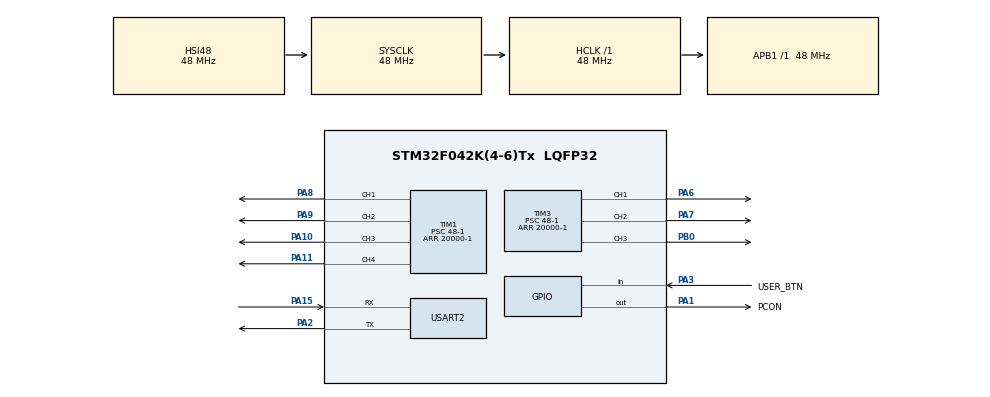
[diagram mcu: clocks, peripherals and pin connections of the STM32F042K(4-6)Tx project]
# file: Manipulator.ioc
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Mcu.Family=STM32F0
Mcu.Name=STM32F042K(4-6)Tx
Mcu.Package=LQFP32
NVIC.TIM2_IRQn=true\:0\:0\:false\:false\:true\:true\:true\:true
NVIC.USART2_IRQn=true\:0\:0\:false\:false\:true\:true\:true\:true
PA1.GPIO_Label=PCON
PA1.Signal=GPIO_Output
PA10.Signal=S_TIM1_CH3
PA11.Signal=S_TIM1_CH4
PA15.Mode=Asynchronous
PA15.Signal=USART2_RX
PA2.Mode=Asynchronous
PA2.Signal=USART2_TX
PA3.GPIO_Label=USER_BTN
PA3.Signal=GPIO_Input
PA6.Signal=S_TIM3_CH1
PA7.Signal=S_TIM3_CH2
PA8.Signal=S_TIM1_CH1
PA9.Signal=S_TIM1_CH2
PB0.Signal=S_TIM3_CH3
ProjectManager.HeapSize=0x200
ProjectManager.StackSize=0x400
ProjectManager.TargetToolchain=STM32CubeIDE
RCC.AHBFreq_Value=48000000
RCC.APB1Freq_Value=48000000
RCC.APB1TimFreq_Value=48000000
RCC.HCLKFreq_Value=48000000
RCC.SYSCLKFreq_VALUE=48000000
RCC.SYSCLKSource=RCC_SYSCLKSOURCE_HSI48
SH.S_TIM1_CH1.0=TIM1_CH1,PWM Generation1 CH1
SH.S_TIM1_CH2.0=TIM1_CH2,PWM Generation2 CH2
SH.S_TIM1_CH3.0=TIM1_CH3,PWM Generation3 CH3
SH.S_TIM1_CH4.0=TIM1_CH4,PWM Generation4 CH4
SH.S_TIM3_CH1.0=TIM3_CH1,PWM Generation1 CH1
SH.S_TIM3_CH2.0=TIM3_CH2,PWM Generation2 CH2
SH.S_TIM3_CH3.0=TIM3_CH3,PWM Generation3 CH3
TIM1.AutoReloadPreload=TIM_AUTORELOAD_PRELOAD_ENABLE
TIM1.Channel-PWM\ Generation1\ CH1=TIM_CHANNEL_1
TIM1.Channel-PWM\ Generation2\ CH2=TIM_CHANNEL_2
TIM1.Channel-PWM\ Generation3\ CH3=TIM_CHANNEL_3
TIM1.Channel-PWM\ Generation4\ CH4=TIM_CHANNEL_4
TIM1.Period=20000-1
TIM1.Prescaler=48-1
TIM2.Period=1000000-1
TIM2.Prescaler=48-1
TIM3.AutoReloadPreload=TIM_AUTORELOAD_PRELOAD_ENABLE
TIM3.Channel-PWM\ Generation1\ CH1=TIM_CHANNEL_1
TIM3.Channel-PWM\ Generation2\ CH2=TIM_CHANNEL_2
TIM3.Channel-PWM\ Generation3\ CH3=TIM_CHANNEL_3
TIM3.Period=20000-1
TIM3.Prescaler=48-1
USART2.VirtualMode-Asynchronous=VM_ASYNC
VP_TIM1_VS_ClockSourceINT.Mode=Internal
VP_TIM2_VS_ClockSourceINT.Mode=Internal
VP_TIM3_VS_ClockSourceINT.Mode=Internal
board=custom

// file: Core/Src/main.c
/* USER CODE BEGIN Header */
/**
 ******************************************************************************
 * @file           : main.c
 * @brief          : Main program body
 ******************************************************************************
 * @attention
 *
 * Copyright (c) 2023 STMicroelectronics.
 * All rights reserved.
 *
 * This software is licensed under terms that can be found in the LICENSE file
 * in the root directory of this software component.
 * If no LICENSE file comes with this software, it is provided AS-IS.
 *
 ******************************************************************************
 */
/* USER CODE END Header */
#include "main.h"

/* USER CODE BEGIN Includes */
#include "stdbool.h"
/* USER CODE END Includes */

/* USER CODE BEGIN PD */

// Rozsah serv 500 - 2500
#define servoMiddle 1500
#define servoLeft 	2400
#define servoRight 	600

#define servo1	TIM1,	1
#define servo2	TIM1,	2
#define servo3	TIM1,	3
#define servo4	TIM1,	4
#define servo5	TIM3,	1
#define servo6	TIM3,	2
#define servo7	TIM3,	3

#define servo7_max	0x3A6
#define servo7_min	0x690

#define fine_change		2
#define rough_change	4

/* USER CODE END PD */

TIM_HandleTypeDef htim1;
TIM_HandleTypeDef htim2;
TIM_HandleTypeDef htim3;

UART_HandleTypeDef huart2;

void SystemClock_Config(void);
static void MX_GPIO_Init(void);
static void MX_TIM1_Init(void);
static void MX_TIM2_Init(void);
static void MX_TIM3_Init(void);
static void MX_USART2_UART_Init(void);
/* USER CODE BEGIN PFP */

void setServo(TIM_TypeDef *timer, int tim_channel, int duty_cycle);

/* USER CODE END PFP */

/* USER CODE BEGIN 0 */
uint16_t pom = 0;
bool lastBtnState = true;		// last state of user button
uint8_t RX_data[3];				// buffer for uart data
uint8_t data_pos = 0;			// buffer data offset
uint8_t receive_complete = 0;	// global flag

void HAL_UART_RxCpltCallback(UART_HandleTypeDef *huart)
{
	data_pos++;
	if (data_pos > 2)	// already get 3 bytes
	{
		data_pos = 0;
		HAL_UART_Receive_IT(&huart2, RX_data + data_pos, 1);
		receive_complete = 1;	// set global flag to set servos position
	}
	else
	{
		HAL_UART_Receive_IT(&huart2, RX_data + data_pos, 1);
	}
}

/* USER CODE END 0 */

int main(void)
{

  /* MCU Configuration--------------------------------------------------------*/

  /* Reset of all peripherals, Initializes the Flash interface and the Systick. */
  HAL_Init();

  /* Configure the system clock */
  SystemClock_Config();

  /* Initialize all configured peripherals */
  MX_GPIO_Init();
  MX_TIM1_Init();
  MX_TIM2_Init();
  MX_TIM3_Init();
  MX_USART2_UART_Init();
  /* USER CODE BEGIN 2 */
	HAL_GPIO_WritePin(PCON_GPIO_Port, PCON_Pin, GPIO_PIN_SET);	// LED signals MCU is ON
	HAL_UART_Receive_IT(&huart2, RX_data, 1);					// START receiving UART data
  /* USER CODE END 2 */

  /* Infinite loop */
  /* USER CODE BEGIN WHILE */
	// START ALL PWM channel + set default servos position
	TIM1->CCR1 = servoMiddle;
	TIM1->CCR2 = servoMiddle;
	TIM1->CCR3 = servoMiddle;
	TIM1->CCR4 = servoMiddle;
	TIM3->CCR1 = servoMiddle;
	TIM3->CCR2 = servoMiddle;
	TIM3->CCR3 = servoMiddle;
	HAL_TIM_PWM_Start(&htim1, TIM_CHANNEL_1);
	HAL_TIM_PWM_Start(&htim1, TIM_CHANNEL_2);
	HAL_TIM_PWM_Start(&htim1, TIM_CHANNEL_3);
	HAL_TIM_PWM_Start(&htim1, TIM_CHANNEL_4);
	HAL_TIM_PWM_Start(&htim3, TIM_CHANNEL_1);
	HAL_TIM_PWM_Start(&htim3, TIM_CHANNEL_2);
	HAL_TIM_PWM_Start(&htim3, TIM_CHANNEL_3);
	HAL_TIM_Base_Start_IT(&htim2);				// START TIM2 for USER_BTN sampling

	while (1)
	{
		if (receive_complete)
		{
			receive_complete = 0;	// RESET global flag

			// Buttons A,C - servo1, servo2 - main arm UP/DOWN
			// Buttons B,D - servo3 - main arm rotation
			// Buttons E,F - servo4 - elbow UP/DOWN
			// Axis Y - servo5 - wrist UP/DOWN
			// Axis X - servo6 - wrist rotation
			// K button - servo7 - forks clamp
			// E and F buttons at same time - servo7 - forks open

			// Main Arm - servo1/2
			if (RX_data[2] & (1))
			{
				setServo(servo1, TIM1->CCR1 + rough_change);
				setServo(servo2, TIM1->CCR2 + rough_change);
			}
			else if (RX_data[2] & (1 << 2))
			{
				setServo(servo1, TIM1->CCR1 - rough_change);
				setServo(servo2, TIM1->CCR2 - rough_change);
			}

			// Arm rotation - servo3
			if (RX_data[2] & (1 << 1))
				setServo(servo3, TIM1->CCR3 + rough_change);
			else if (RX_data[2] & (1 << 3))
				setServo(servo3, TIM1->CCR3 - rough_change);

			// Forks - servo7
			if (RX_data[2] & (1 << 6))
			{
				if ((TIM3->CCR3 - rough_change) > servo7_max)	// Forks servo has different movement range
					setServo(servo7, TIM3->CCR3 - rough_change);
			}
			else if ((RX_data[2] & (1 << 4)) && (RX_data[2] & (1 << 5)))
			{
				if ((TIM3->CCR3 + rough_change) < servo7_min)
					setServo(servo7, TIM3->CCR3 + rough_change);
			}

			// Elbow - servo4
			if ((RX_data[2] & (1 << 4)) && !(RX_data[2] & (1 << 5)))
				setServo(servo4, TIM1->CCR4 + rough_change);
			else if ((RX_data[2] & (1 << 5)) && !(RX_data[2] & (1 << 4)))
				setServo(servo4, TIM1->CCR4 - rough_change);

			// X-axis - servo6
			if (!((*RX_data > 0x78) && (*RX_data < 0x87)))// Joystick between 120 to 135 (8 bit) --> don't change servo position
			{
				if (*RX_data > 135)
				{
					if ((*RX_data > 135) && (*RX_data < 180))
						setServo(servo5, TIM3->CCR1 - fine_change / 2);
					else if ((*RX_data > 180) && (*RX_data < 210))
						setServo(servo5, TIM3->CCR1 - fine_change);
					else if (*RX_data > 210)
						setServo(servo5, TIM3->CCR1 - rough_change);
				}
				else
				{
					if ((*RX_data > 85) && (*RX_data < 120))
						setServo(servo5, TIM3->CCR1 + fine_change / 2);
					else if ((*RX_data > 55) && (*RX_data < 85))
						setServo(servo5, TIM3->CCR1 + fine_change);
					else if (*RX_data < 55)
						setServo(servo5, TIM3->CCR1 + rough_change);
				}
			}

			// Y-axis - servo5
			if (!((RX_data[1] > 0x78) && (RX_data[1] < 0x87)))// Joystick between 120 to 135 (8 bit) --> don't change servo position
			{

				if (RX_data[1] > 140)
				{
					if ((RX_data[1] > 140) && (RX_data[1] < 180))
						setServo(servo6, TIM3->CCR2 - fine_change / 2);
					if ((RX_data[1] > 180) && (RX_data[1] < 210))
						setServo(servo6, TIM3->CCR2 - fine_change);
					if (RX_data[1] > 210)
						setServo(servo6, TIM3->CCR2 - rough_change);
				}
				else
				{
					if ((RX_data[1] > 85) && (RX_data[1] < 115))
						setServo(servo6, TIM3->CCR2 + fine_change / 2);
					if ((RX_data[1] > 55) && (RX_data[1] < 85))
						setServo(servo6, TIM3->CCR2 + fine_change);
					if (RX_data[1] < 55)
						setServo(servo6, TIM3->CCR2 + rough_change);
				}
			}
		}
    /* USER CODE END WHILE */

	}
}

void SystemClock_Config(void)
{
  RCC_OscInitTypeDef RCC_OscInitStruct = {0};
  RCC_ClkInitTypeDef RCC_ClkInitStruct = {0};

  /** Initializes the RCC Oscillators according to the specified parameters
  * in the RCC_OscInitTypeDef structure.
  */
  RCC_OscInitStruct.OscillatorType = RCC_OSCILLATORTYPE_HSI48;
  RCC_OscInitStruct.HSI48State = RCC_HSI48_ON;
  RCC_OscInitStruct.PLL.PLLState = RCC_PLL_NONE;
  if (HAL_RCC_OscConfig(&RCC_OscInitStruct) != HAL_OK)
  {
    Error_Handler();
  }

  /** Initializes the CPU, AHB and APB buses clocks
  */
  RCC_ClkInitStruct.ClockType = RCC_CLOCKTYPE_HCLK|RCC_CLOCKTYPE_SYSCLK
                              |RCC_CLOCKTYPE_PCLK1;
  RCC_ClkInitStruct.SYSCLKSource = RCC_SYSCLKSOURCE_HSI48;
  RCC_ClkInitStruct.AHBCLKDivider = RCC_SYSCLK_DIV1;
  RCC_ClkInitStruct.APB1CLKDivider = RCC_HCLK_DIV1;

  if (HAL_RCC_ClockConfig(&RCC_ClkInitStruct, FLASH_LATENCY_1) != HAL_OK)
  {
    Error_Handler();
  }
}

static void MX_TIM1_Init(void)
{

  TIM_ClockConfigTypeDef sClockSourceConfig = {0};
  TIM_MasterConfigTypeDef sMasterConfig = {0};
  TIM_OC_InitTypeDef sConfigOC = {0};
  TIM_BreakDeadTimeConfigTypeDef sBreakDeadTimeConfig = {0};

  htim1.Instance = TIM1;
  htim1.Init.Prescaler = 48-1;
  htim1.Init.CounterMode = TIM_COUNTERMODE_UP;
  htim1.Init.Period = 20000-1;
  htim1.Init.ClockDivision = TIM_CLOCKDIVISION_DIV1;
  htim1.Init.RepetitionCounter = 0;
  htim1.Init.AutoReloadPreload = TIM_AUTORELOAD_PRELOAD_ENABLE;
  if (HAL_TIM_Base_Init(&htim1) != HAL_OK)
  {
    Error_Handler();
  }
  sClockSourceConfig.ClockSource = TIM_CLOCKSOURCE_INTERNAL;
  if (HAL_TIM_ConfigClockSource(&htim1, &sClockSourceConfig) != HAL_OK)
  {
    Error_Handler();
  }
  if (HAL_TIM_PWM_Init(&htim1) != HAL_OK)
  {
    Error_Handler();
  }
  sMasterConfig.MasterOutputTrigger = TIM_TRGO_RESET;
  sMasterConfig.MasterSlaveMode = TIM_MASTERSLAVEMODE_DISABLE;
  if (HAL_TIMEx_MasterConfigSynchronization(&htim1, &sMasterConfig) != HAL_OK)
  {
    Error_Handler();
  }
  sConfigOC.OCMode = TIM_OCMODE_PWM1;
  sConfigOC.Pulse = 0;
  sConfigOC.OCPolarity = TIM_OCPOLARITY_HIGH;
  sConfigOC.OCNPolarity = TIM_OCNPOLARITY_HIGH;
  sConfigOC.OCFastMode = TIM_OCFAST_DISABLE;
  sConfigOC.OCIdleState = TIM_OCIDLESTATE_RESET;
  sConfigOC.OCNIdleState = TIM_OCNIDLESTATE_RESET;
  if (HAL_TIM_PWM_ConfigChannel(&htim1, &sConfigOC, TIM_CHANNEL_1) != HAL_OK)
  {
    Error_Handler();
  }
  if (HAL_TIM_PWM_ConfigChannel(&htim1, &sConfigOC, TIM_CHANNEL_2) != HAL_OK)
  {
    Error_Handler();
  }
  if (HAL_TIM_PWM_ConfigChannel(&htim1, &sConfigOC, TIM_CHANNEL_3) != HAL_OK)
  {
    Error_Handler();
  }
  if (HAL_TIM_PWM_ConfigChannel(&htim1, &sConfigOC, TIM_CHANNEL_4) != HAL_OK)
  {
    Error_Handler();
  }
  sBreakDeadTimeConfig.OffStateRunMode = TIM_OSSR_DISABLE;
  sBreakDeadTimeConfig.OffStateIDLEMode = TIM_OSSI_DISABLE;
  sBreakDeadTimeConfig.LockLevel = TIM_LOCKLEVEL_OFF;
  sBreakDeadTimeConfig.DeadTime = 0;
  sBreakDeadTimeConfig.BreakState = TIM_BREAK_DISABLE;
  sBreakDeadTimeConfig.BreakPolarity = TIM_BREAKPOLARITY_HIGH;
  sBreakDeadTimeConfig.AutomaticOutput = TIM_AUTOMATICOUTPUT_DISABLE;
  if (HAL_TIMEx_ConfigBreakDeadTime(&htim1, &sBreakDeadTimeConfig) != HAL_OK)
  {
    Error_Handler();
  }
  HAL_TIM_MspPostInit(&htim1);

}

static void MX_TIM2_Init(void)
{

  TIM_ClockConfigTypeDef sClockSourceConfig = {0};
  TIM_MasterConfigTypeDef sMasterConfig = {0};

  htim2.Instance = TIM2;
  htim2.Init.Prescaler = 48-1;
  htim2.Init.CounterMode = TIM_COUNTERMODE_UP;
  htim2.Init.Period = 1000000-1;
  htim2.Init.ClockDivision = TIM_CLOCKDIVISION_DIV1;
  htim2.Init.AutoReloadPreload = TIM_AUTORELOAD_PRELOAD_DISABLE;
  if (HAL_TIM_Base_Init(&htim2) != HAL_OK)
  {
    Error_Handler();
  }
  sClockSourceConfig.ClockSource = TIM_CLOCKSOURCE_INTERNAL;
  if (HAL_TIM_ConfigClockSource(&htim2, &sClockSourceConfig) != HAL_OK)
  {
    Error_Handler();
  }
  sMasterConfig.MasterOutputTrigger = TIM_TRGO_RESET;
  sMasterConfig.MasterSlaveMode = TIM_MASTERSLAVEMODE_DISABLE;
  if (HAL_TIMEx_MasterConfigSynchronization(&htim2, &sMasterConfig) != HAL_OK)
  {
    Error_Handler();
  }

}

static void MX_TIM3_Init(void)
{

  TIM_ClockConfigTypeDef sClockSourceConfig = {0};
  TIM_MasterConfigTypeDef sMasterConfig = {0};
  TIM_OC_InitTypeDef sConfigOC = {0};

  htim3.Instance = TIM3;
  htim3.Init.Prescaler = 48-1;
  htim3.Init.CounterMode = TIM_COUNTERMODE_UP;
  htim3.Init.Period = 20000-1;
  htim3.Init.ClockDivision = TIM_CLOCKDIVISION_DIV1;
  htim3.Init.AutoReloadPreload = TIM_AUTORELOAD_PRELOAD_ENABLE;
  if (HAL_TIM_Base_Init(&htim3) != HAL_OK)
  {
    Error_Handler();
  }
  sClockSourceConfig.ClockSource = TIM_CLOCKSOURCE_INTERNAL;
  if (HAL_TIM_ConfigClockSource(&htim3, &sClockSourceConfig) != HAL_OK)
  {
    Error_Handler();
  }
  if (HAL_TIM_PWM_Init(&htim3) != HAL_OK)
  {
    Error_Handler();
  }
  sMasterConfig.MasterOutputTrigger = TIM_TRGO_RESET;
  sMasterConfig.MasterSlaveMode = TIM_MASTERSLAVEMODE_DISABLE;
  if (HAL_TIMEx_MasterConfigSynchronization(&htim3, &sMasterConfig) != HAL_OK)
  {
    Error_Handler();
  }
  sConfigOC.OCMode = TIM_OCMODE_PWM1;
  sConfigOC.Pulse = 0;
  sConfigOC.OCPolarity = TIM_OCPOLARITY_HIGH;
  sConfigOC.OCFastMode = TIM_OCFAST_DISABLE;
  if (HAL_TIM_PWM_ConfigChannel(&htim3, &sConfigOC, TIM_CHANNEL_1) != HAL_OK)
  {
    Error_Handler();
  }
  if (HAL_TIM_PWM_ConfigChannel(&htim3, &sConfigOC, TIM_CHANNEL_2) != HAL_OK)
  {
    Error_Handler();
  }
  if (HAL_TIM_PWM_ConfigChannel(&htim3, &sConfigOC, TIM_CHANNEL_3) != HAL_OK)
  {
    Error_Handler();
  }
  HAL_TIM_MspPostInit(&htim3);

}

static void MX_USART2_UART_Init(void)
{

  huart2.Instance = USART2;
  huart2.Init.BaudRate = 38400;
  huart2.Init.WordLength = UART_WORDLENGTH_8B;
  huart2.Init.StopBits = UART_STOPBITS_1;
  huart2.Init.Parity = UART_PARITY_NONE;
  huart2.Init.Mode = UART_MODE_TX_RX;
  huart2.Init.HwFlowCtl = UART_HWCONTROL_NONE;
  huart2.Init.OverSampling = UART_OVERSAMPLING_16;
  huart2.Init.OneBitSampling = UART_ONE_BIT_SAMPLE_DISABLE;
  huart2.AdvancedInit.AdvFeatureInit = UART_ADVFEATURE_NO_INIT;
  if (HAL_UART_Init(&huart2) != HAL_OK)
  {
    Error_Handler();
  }

}

static void MX_GPIO_Init(void)
{
  GPIO_InitTypeDef GPIO_InitStruct = {0};

  /* GPIO Ports Clock Enable */
  __HAL_RCC_GPIOA_CLK_ENABLE();
  __HAL_RCC_GPIOB_CLK_ENABLE();

  /*Configure GPIO pin Output Level */
  HAL_GPIO_WritePin(PCON_GPIO_Port, PCON_Pin, GPIO_PIN_RESET);

  /*Configure GPIO pin : PCON_Pin */
  GPIO_InitStruct.Pin = PCON_Pin;
  GPIO_InitStruct.Mode = GPIO_MODE_OUTPUT_PP;
  GPIO_InitStruct.Pull = GPIO_NOPULL;
  GPIO_InitStruct.Speed = GPIO_SPEED_FREQ_LOW;
  HAL_GPIO_Init(PCON_GPIO_Port, &GPIO_InitStruct);

  /*Configure GPIO pin : USER_BTN_Pin */
  GPIO_InitStruct.Pin = USER_BTN_Pin;
  GPIO_InitStruct.Mode = GPIO_MODE_INPUT;
  GPIO_InitStruct.Pull = GPIO_NOPULL;
  HAL_GPIO_Init(USER_BTN_GPIO_Port, &GPIO_InitStruct);

}

/* USER CODE BEGIN 4 */
void HAL_TIM_PeriodElapsedCallback(TIM_HandleTypeDef *htim)	// TIM2 IRQ for BTN sampling
{
	bool actual_state = HAL_GPIO_ReadPin(USER_BTN_GPIO_Port, USER_BTN_Pin);
	if (lastBtnState != actual_state)
	{
		lastBtnState = actual_state;
		if (actual_state)
		{
			pom = !pom;
		}
	}
}

void setServo(TIM_TypeDef *timer, int tim_channel, int duty_cycle)
{
	if ((duty_cycle > servoLeft) || (duty_cycle < servoRight))	// Servo range control
		return;

	switch (tim_channel)
	{
	case 1:
		timer->CCR1 = duty_cycle;
		break;
	case 2:
		timer->CCR2 = duty_cycle;
		break;
	case 3:
		timer->CCR3 = duty_cycle;
		break;
	case 4:
		timer->CCR4 = duty_cycle;
		break;
	}
}
/* USER CODE END 4 */

void Error_Handler(void)
{
	__disable_irq();
	while (1)
	{
	}
}
